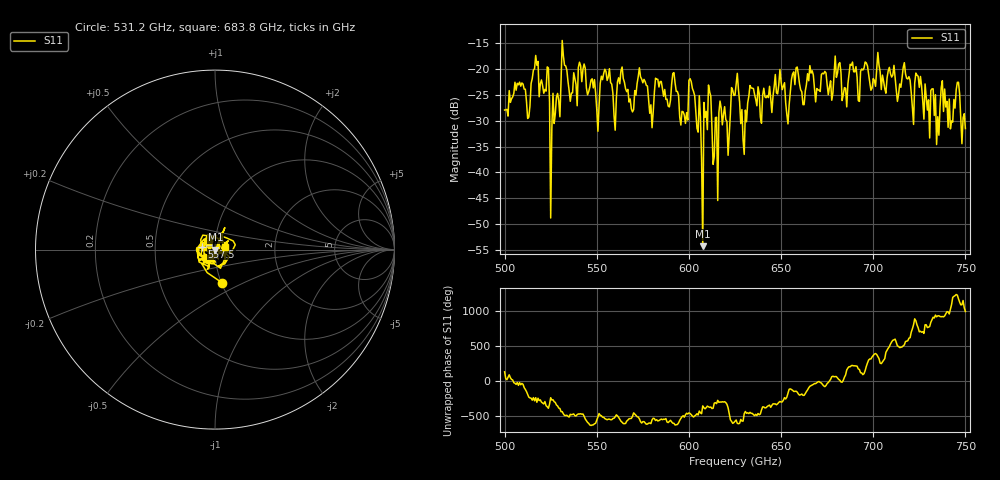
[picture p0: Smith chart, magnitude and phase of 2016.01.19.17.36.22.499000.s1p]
!Created with skrf (http://scikit-rf.org).
# GHz S RI R 50.0
!freq ReS11 ImS11
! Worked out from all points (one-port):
!   401 points, 500 GHz to 750 GHz, reference 50 ohm
!   lowest |S11| = -54.4 dB at 607.5 GHz (marker M1), VSWR 1.00, Z = 50.2 + j0.0167 ohm
!   |S11| at or under -10 dB: start of sweep to end of sweep
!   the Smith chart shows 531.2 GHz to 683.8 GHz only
!   S11 on the Smith chart (normalised r, x): 531.2 GHz: 1.01, -0.39; 557.5 GHz: 0.86, +0.03; 683.8 GHz: 1.12, +0.03
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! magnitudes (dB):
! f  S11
! 500 GHz  -27.9
! 513.1 GHz  -29.3
! 516.9 GHz  -17.3
! 523.1 GHz  -19.5
! 526.2 GHz  -24.7
! 531.2 GHz  -14.4
! 550.6 GHz  -32.0
! 557.5 GHz  -22.6
! 562.5 GHz  -22.8
! 568.8 GHz  -27.7
! 573.1 GHz  -19.7
! 579.4 GHz  -26.9
! 583.1 GHz  -22.0
! 593.8 GHz  -24.3
! 598.1 GHz  -30.5
! 601.2 GHz  -22.4
! 607.5 GHz  -54.4
! 610.6 GHz  -23.1
! 614.4 GHz  -29.4
! 625 GHz  -25.0
! 629.4 GHz  -33.7
! 633.8 GHz  -23.6
! 653.8 GHz  -30.6
! 656.2 GHz  -20.9
! 683.8 GHz  -24.9
! 687.5 GHz  -19.0
! 718.8 GHz  -21.9
! 750 GHz  -31.5
